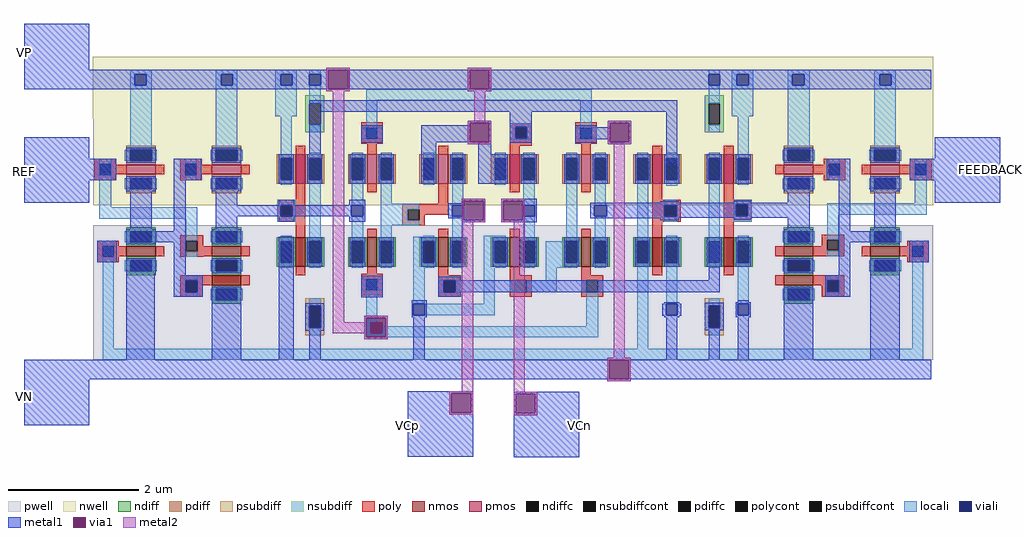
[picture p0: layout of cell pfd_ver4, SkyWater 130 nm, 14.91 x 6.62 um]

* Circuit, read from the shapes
.subckt pfd_ver4 VN VCn REF FEEDBACK VP VCp
XM1 n1 n2 VN VN sky130_fd_pr__nfet_01v8 w=0.45 l=0.15
XM2 n3 n1 VN VN sky130_fd_pr__nfet_01v8 w=0.45 l=0.15
XM3 n4 REF n3 VN sky130_fd_pr__nfet_01v8 w=0.45 l=0.15
XM4 n5 n4 VN VN sky130_fd_pr__nfet_01v8 w=0.45 l=0.15
XM5 n6 VP n4 VN sky130_fd_pr__nfet_01v8 w=0.45 l=0.15
XM6 VCp n7 VN VN sky130_fd_pr__nfet_01v8 w=0.45 l=0.15
XM7 VCn n8 VN VN sky130_fd_pr__nfet_01v8 w=0.45 l=0.15
XM8 n9 VP n8 VN sky130_fd_pr__nfet_01v8 w=0.45 l=0.15
XM9 VN n9 n2 VN sky130_fd_pr__nfet_01v8 w=0.45 l=0.15
XM10 VN n9 n7 VN sky130_fd_pr__nfet_01v8 w=0.45 l=0.15
XM11 n10 n11 VN VN sky130_fd_pr__nfet_01v8 w=0.45 l=0.15
XM12 n9 FEEDBACK n10 VN sky130_fd_pr__nfet_01v8 w=0.45 l=0.15
XM13 n11 n2 VN VN sky130_fd_pr__nfet_01v8 w=0.45 l=0.15
XM14 VP REF n1 VP sky130_fd_pr__pfet_01v8 w=0.45 l=0.15
XM15 VP n1 n4 VP sky130_fd_pr__pfet_01v8 w=0.45 l=0.15
XM16 n5 n4 VP VP sky130_fd_pr__pfet_01v8 w=0.45 l=0.15
XM17 n6 VN n4 VP sky130_fd_pr__pfet_01v8 w=0.45 l=0.15
XM18 VCp n6 VP VP sky130_fd_pr__pfet_01v8 w=0.45 l=0.15
XM19 VCn n5 VP VP sky130_fd_pr__pfet_01v8 w=0.45 l=0.15
XM20 n9 VN n8 VP sky130_fd_pr__pfet_01v8 w=0.45 l=0.15
XM21 n5 n9 n2 VP sky130_fd_pr__pfet_01v8 w=0.45 l=0.15
XM22 VP n9 n7 VP sky130_fd_pr__pfet_01v8 w=0.45 l=0.15
XM23 VP n11 n9 VP sky130_fd_pr__pfet_01v8 w=0.45 l=0.15
XM24 VP FEEDBACK n11 VP sky130_fd_pr__pfet_01v8 w=0.45 l=0.15
.ends

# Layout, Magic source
magic
tech sky130A
magscale 1 2
<< nwell >>
rect 580 238 3148 428
rect 582 -26 3148 238
<< pwell >>
rect 582 -498 3148 -88
rect 2152 -564 2224 -498
rect 2550 -502 2584 -498
<< pmos >>
rect 1636 40 1666 130
<< pdiff >>
rect 1578 40 1636 130
rect 1666 40 1724 130
<< psubdiff >>
rect 1230 -334 1288 -310
rect 1230 -400 1242 -334
rect 1276 -400 1288 -334
rect 1230 -424 1288 -400
rect 2450 -334 2508 -310
rect 2450 -400 2462 -334
rect 2496 -400 2508 -334
rect 2450 -424 2508 -400
<< nsubdiff >>
rect 1230 286 1288 310
rect 1230 220 1242 286
rect 1276 220 1288 286
rect 2450 286 2508 310
rect 1230 196 1288 220
rect 2450 220 2462 286
rect 2496 220 2508 286
rect 2450 196 2508 220
<< psubdiffcont >>
rect 1242 -400 1276 -334
rect 2462 -400 2496 -334
<< nsubdiffcont >>
rect 1242 220 1276 286
rect 2462 220 2496 286
<< poly >>
rect 1854 214 1922 224
rect 1854 178 1872 214
rect 1906 178 1922 214
rect 1854 156 1922 178
rect 602 74 636 114
rect 1200 -10 1230 156
rect 1636 130 1666 156
rect 1144 -26 1230 -10
rect 1636 -22 1666 40
rect 1854 14 1884 156
rect 1144 -60 1154 -26
rect 1190 -60 1230 -26
rect 1144 -76 1230 -60
rect 848 -134 918 -118
rect 848 -168 864 -134
rect 900 -168 918 -134
rect 848 -184 918 -168
rect 1200 -240 1230 -76
rect 1526 -38 1666 -22
rect 1526 -72 1542 -38
rect 1578 -56 1666 -38
rect 2290 -10 2320 156
rect 2508 -10 2538 156
rect 3092 54 3128 100
rect 2290 -26 2376 -10
rect 1578 -72 1594 -56
rect 1526 -88 1594 -72
rect 2290 -60 2326 -26
rect 2364 -60 2376 -26
rect 2290 -76 2376 -60
rect 2508 -26 2594 -10
rect 2508 -60 2544 -26
rect 2580 -60 2594 -26
rect 2508 -76 2594 -60
rect 2290 -240 2320 -76
rect 2508 -240 2538 -76
rect 2808 -132 2876 -116
rect 2808 -152 2824 -132
rect 2786 -166 2824 -152
rect 2860 -166 2876 -132
rect 2786 -182 2876 -166
rect 848 -256 1060 -240
rect 848 -290 864 -256
rect 900 -270 1060 -256
rect 1636 -256 1704 -240
rect 900 -290 916 -270
rect 848 -306 916 -290
rect 1636 -292 1652 -256
rect 1688 -292 1704 -256
rect 1636 -306 1704 -292
rect 1854 -256 1922 -240
rect 1854 -292 1870 -256
rect 1906 -292 1922 -256
rect 1854 -306 1922 -292
rect 2072 -256 2140 -240
rect 2072 -292 2088 -256
rect 2124 -292 2140 -256
rect 2072 -306 2140 -292
rect 2808 -256 2876 -240
rect 2808 -290 2824 -256
rect 2860 -290 2876 -256
rect 2808 -306 2876 -290
<< polycont >>
rect 1872 178 1906 214
rect 1154 -60 1190 -26
rect 864 -168 900 -134
rect 1542 -72 1578 -38
rect 2326 -60 2364 -26
rect 2544 -60 2580 -26
rect 2824 -166 2860 -132
rect 864 -290 900 -256
rect 1652 -292 1688 -256
rect 1870 -292 1906 -256
rect 2088 -292 2124 -256
rect 2824 -290 2860 -256
<< locali >>
rect 694 374 760 388
rect 694 340 708 374
rect 744 340 760 374
rect 600 -32 636 114
rect 694 108 760 340
rect 956 374 1022 388
rect 956 340 972 374
rect 1008 340 1022 374
rect 956 110 1022 340
rect 1138 374 1204 388
rect 1138 340 1154 374
rect 1190 340 1204 374
rect 1138 246 1204 340
rect 1242 374 1276 388
rect 1242 286 1276 340
rect 2462 374 2496 388
rect 1154 36 1188 246
rect 1242 196 1276 220
rect 1416 294 2104 328
rect 1416 178 1450 294
rect 1854 214 1922 224
rect 1854 178 1872 214
rect 1906 178 1922 214
rect 1854 176 1922 178
rect 2070 176 2104 294
rect 2462 286 2496 340
rect 2532 374 2598 388
rect 2532 340 2548 374
rect 2584 340 2598 374
rect 2532 246 2598 340
rect 2704 374 2770 388
rect 2704 340 2718 374
rect 2754 340 2770 374
rect 2462 196 2496 220
rect 1144 -26 1200 -10
rect 600 -68 900 -32
rect 864 -134 900 -68
rect 1144 -60 1154 -26
rect 1190 -60 1200 -26
rect 1144 -76 1200 -60
rect 610 -464 644 -134
rect 864 -184 900 -168
rect 1242 -204 1276 116
rect 1372 -26 1406 134
rect 1372 -218 1406 -60
rect 1460 -22 1494 134
rect 1590 118 1624 134
rect 1460 -38 1578 -22
rect 1460 -72 1542 -38
rect 1460 -88 1578 -72
rect 1678 -26 1712 134
rect 1460 -218 1494 -88
rect 864 -256 900 -240
rect 864 -306 900 -292
rect 1242 -334 1276 -310
rect 1242 -424 1276 -400
rect 1416 -384 1450 -252
rect 1560 -328 1594 -122
rect 1678 -218 1712 -60
rect 1896 -26 1930 134
rect 1774 -218 1842 -120
rect 1896 -218 1930 -60
rect 2026 -136 2060 134
rect 2114 -26 2148 134
rect 1964 -218 2060 -136
rect 2114 -218 2148 -60
rect 1636 -292 1652 -256
rect 1688 -292 1704 -256
rect 1774 -328 1808 -218
rect 1964 -256 1998 -218
rect 1854 -292 1870 -256
rect 1906 -292 1998 -256
rect 2072 -292 2088 -256
rect 2124 -292 2140 -256
rect 1594 -362 1808 -328
rect 1416 -418 1430 -384
rect 2088 -396 2124 -292
rect 1464 -418 2124 -396
rect 1416 -430 2124 -418
rect 2244 -464 2278 134
rect 2332 34 2366 102
rect 2326 -26 2364 -10
rect 2326 -76 2364 -60
rect 2332 -328 2366 -120
rect 2462 -218 2496 134
rect 2550 36 2584 246
rect 2704 110 2770 340
rect 2968 374 3034 388
rect 2968 340 2984 374
rect 3020 340 3034 374
rect 2968 110 3034 340
rect 2538 -24 2594 -10
rect 3092 -20 3128 116
rect 2538 -26 2546 -24
rect 2538 -60 2544 -26
rect 2582 -58 2594 -24
rect 2580 -60 2594 -58
rect 2538 -76 2594 -60
rect 2824 -56 3128 -20
rect 2462 -334 2496 -310
rect 2550 -328 2584 -120
rect 2824 -132 2860 -56
rect 2824 -182 2860 -166
rect 2824 -256 2860 -240
rect 2824 -306 2860 -290
rect 2462 -424 2496 -400
rect 3084 -464 3118 -134
rect 610 -498 3118 -464
<< viali >>
rect 708 340 744 374
rect 972 340 1008 374
rect 1154 340 1190 374
rect 1242 340 1276 374
rect 2462 340 2496 374
rect 1872 178 1906 212
rect 2548 340 2584 374
rect 2718 340 2754 374
rect 1154 -60 1190 -26
rect 1370 -60 1406 -26
rect 1678 -60 1712 -26
rect 864 -290 900 -256
rect 864 -292 900 -290
rect 1242 -400 1276 -334
rect 1896 -60 1930 -26
rect 2112 -60 2150 -26
rect 1652 -292 1688 -256
rect 1560 -362 1594 -328
rect 1430 -418 1464 -384
rect 2326 -60 2364 -26
rect 2984 340 3020 374
rect 2546 -26 2582 -24
rect 2546 -58 2580 -26
rect 2580 -58 2582 -26
rect 2332 -362 2366 -328
rect 2462 -400 2496 -334
rect 2824 -290 2860 -256
rect 2550 -362 2584 -328
<< metal1 >>
rect 370 388 570 528
rect 370 374 1300 388
rect 370 340 708 374
rect 744 340 972 374
rect 1008 340 1154 374
rect 1190 340 1242 374
rect 1276 340 1300 374
rect 370 328 1300 340
rect 1360 328 1732 388
rect 1792 374 3142 388
rect 1792 340 2462 374
rect 2496 340 2548 374
rect 2584 340 2718 374
rect 2754 340 2984 374
rect 3020 340 3142 374
rect 1792 328 3142 340
rect 1242 260 2366 294
rect 370 116 570 182
rect 1242 116 1276 260
rect 1726 226 1798 232
rect 1726 218 1732 226
rect 1400 164 1466 218
rect 1584 166 1732 218
rect 1792 166 1798 226
rect 370 50 652 116
rect 370 -18 570 50
rect 694 -106 760 56
rect 828 50 912 116
rect 828 -106 864 50
rect 594 -200 654 -134
rect 682 -140 864 -106
rect 956 -26 1022 56
rect 1584 40 1630 166
rect 1758 130 1798 166
rect 1854 212 1922 260
rect 2154 226 2226 232
rect 1854 178 1872 212
rect 1906 178 1922 212
rect 1854 164 1922 178
rect 2054 212 2120 218
rect 2154 212 2160 226
rect 2054 176 2160 212
rect 2054 164 2120 176
rect 2154 166 2160 176
rect 2220 166 2226 226
rect 2154 160 2226 166
rect 1758 40 1848 130
rect 2332 102 2366 260
rect 3152 116 3352 182
rect 1148 -26 1196 -10
rect 1364 -26 1412 -10
rect 1708 -12 1780 -6
rect 1708 -20 1714 -12
rect 956 -60 1154 -26
rect 1190 -60 1370 -26
rect 1406 -60 1412 -26
rect 956 -140 1022 -60
rect 1148 -76 1196 -60
rect 1364 -76 1412 -60
rect 1666 -26 1714 -20
rect 1666 -60 1678 -26
rect 1712 -60 1714 -26
rect 1666 -66 1714 -60
rect 1708 -72 1714 -66
rect 1774 -72 1780 -12
rect 1708 -78 1780 -72
rect 1828 -12 1936 -6
rect 1828 -72 1834 -12
rect 1894 -26 1936 -12
rect 2314 -18 2370 -14
rect 2538 -18 2590 -12
rect 2704 -18 2770 56
rect 2824 50 2894 116
rect 1894 -60 1896 -26
rect 1930 -60 1936 -26
rect 1894 -72 1936 -60
rect 2100 -24 2770 -18
rect 2100 -26 2546 -24
rect 2100 -60 2112 -26
rect 2150 -60 2326 -26
rect 2364 -58 2546 -26
rect 2582 -58 2770 -24
rect 2364 -60 2770 -58
rect 2100 -64 2770 -60
rect 2100 -66 2370 -64
rect 2314 -72 2370 -66
rect 2538 -70 2590 -64
rect 1828 -78 1936 -72
rect 682 -498 770 -190
rect 828 -240 864 -140
rect 828 -256 916 -240
rect 828 -292 864 -256
rect 900 -292 916 -256
rect 828 -306 916 -292
rect 944 -498 1034 -276
rect 1148 -498 1194 -122
rect 1400 -308 1466 -242
rect 1636 -256 1704 -244
rect 2462 -256 2496 -124
rect 2704 -140 2770 -64
rect 2860 -106 2894 50
rect 2968 -106 3034 56
rect 3076 50 3352 116
rect 3152 -18 3352 50
rect 2860 -140 3034 -106
rect 2860 -240 2894 -140
rect 1636 -292 1652 -256
rect 1688 -292 2496 -256
rect 2818 -256 2894 -240
rect 1636 -306 1704 -292
rect 1230 -334 1288 -326
rect 1230 -400 1242 -334
rect 1276 -400 1288 -334
rect 1554 -328 1600 -316
rect 2550 -322 2584 -316
rect 2326 -328 2372 -322
rect 1554 -362 1560 -328
rect 1594 -362 1600 -328
rect 1230 -410 1288 -400
rect 1410 -370 1482 -364
rect 1554 -368 1600 -362
rect 2320 -362 2332 -328
rect 2366 -362 2378 -328
rect 2320 -364 2378 -362
rect 2450 -334 2508 -324
rect 2326 -368 2372 -364
rect 1242 -498 1276 -410
rect 1410 -430 1416 -370
rect 1476 -430 1482 -370
rect 1410 -436 1482 -430
rect 1560 -498 1594 -368
rect 2332 -498 2366 -368
rect 2450 -400 2462 -334
rect 2496 -400 2508 -334
rect 2544 -328 2590 -322
rect 2544 -362 2550 -328
rect 2584 -362 2590 -328
rect 2544 -368 2590 -362
rect 2450 -408 2508 -400
rect 2462 -498 2496 -408
rect 2550 -498 2584 -368
rect 2692 -498 2782 -276
rect 2818 -290 2824 -256
rect 2860 -290 2894 -256
rect 2818 -306 2894 -290
rect 2956 -498 3046 -188
rect 3074 -200 3134 -134
rect 370 -558 2158 -498
rect 2218 -558 3142 -498
rect 370 -698 570 -558
rect 1542 -600 1742 -594
rect 1542 -660 1676 -600
rect 1736 -660 1742 -600
rect 1542 -794 1742 -660
rect 1866 -602 2066 -596
rect 1866 -662 1872 -602
rect 1932 -662 2066 -602
rect 1866 -796 2066 -662
<< via1 >>
rect 1300 328 1360 388
rect 1732 328 1792 388
rect 1732 166 1792 226
rect 2160 166 2220 226
rect 1714 -72 1774 -12
rect 1834 -72 1894 -12
rect 1416 -384 1476 -370
rect 1416 -418 1430 -384
rect 1430 -418 1464 -384
rect 1464 -418 1476 -384
rect 1416 -430 1476 -418
rect 2158 -558 2218 -498
rect 1676 -660 1736 -600
rect 1872 -662 1932 -602
<< metal2 >>
rect 1294 388 1366 394
rect 1294 328 1300 388
rect 1360 328 1366 388
rect 1294 322 1366 328
rect 1726 388 1798 394
rect 1726 328 1732 388
rect 1792 328 1798 388
rect 1726 322 1798 328
rect 1314 -384 1348 322
rect 1746 232 1780 322
rect 1726 226 1798 232
rect 1726 166 1732 226
rect 1792 166 1798 226
rect 1726 160 1798 166
rect 2154 226 2226 232
rect 2154 166 2160 226
rect 2220 166 2226 226
rect 2154 160 2226 166
rect 1708 -12 1780 -6
rect 1708 -72 1714 -12
rect 1774 -72 1780 -12
rect 1708 -78 1780 -72
rect 1828 -12 1900 -6
rect 1828 -72 1834 -12
rect 1894 -72 1900 -12
rect 1828 -78 1900 -72
rect 1410 -370 1482 -364
rect 1410 -384 1416 -370
rect 1314 -418 1416 -384
rect 1410 -430 1416 -418
rect 1476 -430 1482 -370
rect 1410 -436 1482 -430
rect 1708 -594 1742 -78
rect 1670 -600 1742 -594
rect 1670 -660 1676 -600
rect 1736 -660 1742 -600
rect 1670 -666 1742 -660
rect 1866 -596 1900 -78
rect 2172 -492 2206 160
rect 2152 -498 2224 -492
rect 2152 -558 2158 -498
rect 2218 -558 2224 -498
rect 2152 -564 2224 -558
rect 1866 -602 1938 -596
rect 1866 -662 1872 -602
rect 1932 -662 1938 -602
rect 1866 -668 1938 -662
use sky130_fd_pr__nfet_01v8_9NP8AN  sky130_fd_pr__nfet_01v8_9NP8AN_0
transform 1 0 2087 0 1 -169
box -73 -71 73 71
use sky130_fd_pr__nfet_01v8_VZM9AN  sky130_fd_pr__nfet_01v8_VZM9AN_0
transform -1 0 1215 0 -1 -169
box -73 -71 73 71
use sky130_fd_pr__pfet_01v8_27PL9K  sky130_fd_pr__pfet_01v8_27PL9K_0
transform -1 0 1215 0 -1 85
box -109 -107 109 107
use sky130_fd_pr__pfet_01v8_27PL9Z  sky130_fd_pr__pfet_01v8_27PL9Z_0
transform 0 1 953 -1 0 83
box -109 -109 109 143
use sky130_fd_pr__pfet_01v8_27PL9Z  sky130_fd_pr__pfet_01v8_27PL9Z_1
transform 0 1 691 -1 0 83
box -109 -109 109 143
use sky130_fd_pr__pfet_01v8_52DJGB  sky130_fd_pr__pfet_01v8_52DJGB_0
transform 1 0 1651 0 1 85
box -109 -107 109 107
use sky130_fd_pr__pfet_01v8_MJZT9K  sky130_fd_pr__pfet_01v8_MJZT9K_0
transform 1 0 2087 0 1 121
box -109 -143 109 109
use sky130_fd_pr__nfet_01v8_9NESAN  XM2
transform 0 1 696 -1 0 -167
box -73 -102 73 102
use sky130_fd_pr__nfet_01v8_9NP8AN  XM5
transform 0 1 989 -1 0 -167
box -73 -71 73 71
use sky130_fd_pr__nfet_01v8_9NP8AN  XM6
transform 0 1 989 -1 0 -255
box -73 -71 73 71
use sky130_fd_pr__pfet_01v8_52DJGB  XM8
transform 1 0 2305 0 1 85
box -109 -107 109 107
use sky130_fd_pr__nfet_01v8_BH4Y4M  XM9
transform 1 0 2305 0 1 -169
box -73 -71 73 71
use sky130_fd_pr__pfet_01v8_52DJGB  XM10
transform 1 0 2523 0 1 85
box -109 -107 109 107
use sky130_fd_pr__nfet_01v8_BH4Y4M  XM11
transform 1 0 2523 0 1 -169
box -73 -71 73 71
use sky130_fd_pr__pfet_01v8_AWEQGB  XM12
transform 0 1 2773 -1 0 83
box -109 -143 109 109
use sky130_fd_pr__nfet_01v8_BH4Y4M  XM13
transform 0 1 2737 -1 0 -167
box -73 -71 73 71
use sky130_fd_pr__pfet_01v8_AWEQGB  XM14
transform 0 1 3037 -1 0 83
box -109 -143 109 109
use sky130_fd_pr__nfet_01v8_ZVHWZ3  XM15
transform 0 1 3032 -1 0 -167
box -73 -102 73 102
use sky130_fd_pr__nfet_01v8_BH4Y4M  XM16
transform 0 1 2737 -1 0 -255
box -73 -71 73 71
use sky130_fd_pr__pfet_01v8_27PL9K  XM17
transform 1 0 1869 0 1 85
box -109 -107 109 107
use sky130_fd_pr__nfet_01v8_9NP8AN  XM18
transform 1 0 1869 0 1 -169
box -73 -71 73 71
use sky130_fd_pr__pfet_01v8_MJZT9K  XM19
transform 1 0 1433 0 1 121
box -109 -143 109 109
use sky130_fd_pr__nfet_01v8_9N7ETN  XM20
transform -1 0 1433 0 -1 -200
box -73 -102 73 102
use sky130_fd_pr__nfet_01v8_BH4Y4M  XM45
transform 1 0 1651 0 1 -169
box -73 -71 73 71
<< labels >>
flabel metal1 s 370 -612 370 -612 7 FreeSans 320 0 0 0 VN
port 0 w
flabel metal1 s 2066 -698 2066 -698 3 FreeSans 320 0 0 0 VCn
port 1 e
flabel metal1 s 370 78 370 78 7 FreeSans 320 0 0 0 REF
port 2 w
flabel metal1 s 3352 82 3352 82 3 FreeSans 320 0 0 0 FEEDBACK
port 3 e
flabel metal1 s 370 440 370 440 7 FreeSans 320 0 0 0 VP
port 4 w
flabel metal1 s 1542 -698 1542 -698 7 FreeSans 320 0 0 0 VCp
port 5 w
<< end >>

# cell sky130_fd_pr__nfet_01v8_9NP8AN: kit device sky130_fd_pr__nfet_01v8, w 0.45 l 0.15 m 1 nf 1 diffcov 100 polycov 100 guard 0 glc 1 grc 1 gtc 1 gbc 1 tbcov 100 rlcov 100 topc 0 botc 0 poverlap 0 doverlap 1 lmin 0.15 wmin 0.42 compatible {sky130_fd_pr__nfet_01v8 sky130_fd_pr__nfet_01v8_lvt sky130_fd_bs_flash__special_sonosfet_star sky130_fd_pr__nfet_g5v0d10v5 sky130_fd_pr__nfet_05v0_nvt sky130_fd_pr__nfet_03v3_nvt} full_metal 1 viasrc 100 viadrn 100 viagate 100 viagb 0 viagr 0 viagl 0 viagt 0

# cell sky130_fd_pr__nfet_01v8_VZM9AN: kit device sky130_fd_pr__nfet_01v8, w 0.45 l 0.15 m 1 nf 1 diffcov 100 polycov 100 guard 0 glc 1 grc 1 gtc 1 gbc 1 tbcov 100 rlcov 100 topc 0 botc 0 poverlap 0 doverlap 0 lmin 0.15 wmin 0.42 compatible {sky130_fd_pr__nfet_01v8 sky130_fd_pr__nfet_01v8_lvt sky130_fd_bs_flash__special_sonosfet_star sky130_fd_pr__nfet_g5v0d10v5 sky130_fd_pr__nfet_05v0_nvt sky130_fd_pr__nfet_03v3_nvt} full_metal 1 viasrc 100 viadrn 100 viagate 100 viagb 0 viagr 0 viagl 0 viagt 0

# cell sky130_fd_pr__pfet_01v8_27PL9K: kit device sky130_fd_pr__pfet_01v8, w 0.45 l 0.15 m 1 nf 1 diffcov 100 polycov 100 guard 0 glc 1 grc 1 gtc 1 gbc 1 tbcov 100 rlcov 100 topc 0 botc 0 poverlap 0 doverlap 1 lmin 0.15 wmin 0.42 compatible {sky130_fd_pr__pfet_01v8 sky130_fd_pr__pfet_01v8_lvt sky130_fd_pr__pfet_01v8_hvt sky130_fd_pr__pfet_g5v0d10v5} full_metal 1 viasrc 100 viadrn 100 viagate 100 viagb 0 viagr 0 viagl 0 viagt 0

# cell sky130_fd_pr__pfet_01v8_27PL9Z: kit device sky130_fd_pr__pfet_01v8, w 0.45 l 0.15 m 1 nf 1 diffcov 100 polycov 100 guard 0 glc 1 grc 1 gtc 1 gbc 1 tbcov 100 rlcov 100 topc 0 botc 1 poverlap 0 doverlap 1 lmin 0.15 wmin 0.42 compatible {sky130_fd_pr__pfet_01v8 sky130_fd_pr__pfet_01v8_lvt sky130_fd_pr__pfet_01v8_hvt sky130_fd_pr__pfet_g5v0d10v5} full_metal 1 viasrc 100 viadrn 100 viagate 100 viagb 0 viagr 0 viagl 0 viagt 0

# cell sky130_fd_pr__pfet_01v8_52DJGB: kit device sky130_fd_pr__pfet_01v8, w 0.45 l 0.15 m 1 nf 1 diffcov 100 polycov 100 guard 0 glc 0 grc 0 gtc 0 gbc 0 tbcov 100 rlcov 100 topc 0 botc 0 poverlap 0 doverlap 0 lmin 0.15 wmin 0.42 compatible {sky130_fd_pr__pfet_01v8 sky130_fd_pr__pfet_01v8_lvt sky130_fd_pr__pfet_01v8_hvt sky130_fd_pr__pfet_g5v0d10v5} full_metal 0 viasrc 100 viadrn 100 viagate 100 viagb 0 viagr 0 viagl 0 viagt 0

# cell sky130_fd_pr__pfet_01v8_MJZT9K: kit device sky130_fd_pr__pfet_01v8, w 0.45 l 0.15 m 1 nf 1 diffcov 100 polycov 100 guard 0 glc 1 grc 1 gtc 1 gbc 1 tbcov 100 rlcov 100 topc 1 botc 0 poverlap 0 doverlap 1 lmin 0.15 wmin 0.42 compatible {sky130_fd_pr__pfet_01v8 sky130_fd_pr__pfet_01v8_lvt sky130_fd_pr__pfet_01v8_hvt sky130_fd_pr__pfet_g5v0d10v5} full_metal 1 viasrc 100 viadrn 100 viagate 100 viagb 0 viagr 0 viagl 0 viagt 0

# cell sky130_fd_pr__nfet_01v8_9NESAN: kit device sky130_fd_pr__nfet_01v8, w 0.45 l 0.15 m 1 nf 1 diffcov 100 polycov 100 guard 0 glc 1 grc 1 gtc 1 gbc 1 tbcov 100 rlcov 100 topc 0 botc 1 poverlap 0 doverlap 1 lmin 0.15 wmin 0.42 compatible {sky130_fd_pr__nfet_01v8 sky130_fd_pr__nfet_01v8_lvt sky130_fd_bs_flash__special_sonosfet_star sky130_fd_pr__nfet_g5v0d10v5 sky130_fd_pr__nfet_05v0_nvt sky130_fd_pr__nfet_03v3_nvt} full_metal 1 viasrc 100 viadrn 100 viagate 100 viagb 0 viagr 0 viagl 0 viagt 0

# cell sky130_fd_pr__nfet_01v8_BH4Y4M: kit device sky130_fd_pr__nfet_01v8, w 0.45 l 0.15 m 1 nf 1 diffcov 100 polycov 100 guard 0 glc 0 grc 0 gtc 0 gbc 0 tbcov 100 rlcov 100 topc 0 botc 0 poverlap 0 doverlap 0 lmin 0.15 wmin 0.42 compatible {sky130_fd_pr__nfet_01v8 sky130_fd_pr__nfet_01v8_lvt sky130_fd_bs_flash__special_sonosfet_star sky130_fd_pr__nfet_g5v0d10v5 sky130_fd_pr__nfet_05v0_nvt sky130_fd_pr__nfet_03v3_nvt} full_metal 0 viasrc 100 viadrn 100 viagate 100 viagb 0 viagr 0 viagl 0 viagt 0

# cell sky130_fd_pr__pfet_01v8_AWEQGB: kit device sky130_fd_pr__pfet_01v8, w 0.45 l 0.15 m 1 nf 1 diffcov 100 polycov 100 guard 0 glc 0 grc 0 gtc 0 gbc 0 tbcov 100 rlcov 100 topc 1 botc 0 poverlap 0 doverlap 0 lmin 0.15 wmin 0.42 compatible {sky130_fd_pr__pfet_01v8 sky130_fd_pr__pfet_01v8_lvt sky130_fd_pr__pfet_01v8_hvt sky130_fd_pr__pfet_g5v0d10v5} full_metal 0 viasrc 100 viadrn 100 viagate 100 viagb 0 viagr 0 viagl 0 viagt 0

# cell sky130_fd_pr__nfet_01v8_ZVHWZ3: kit device sky130_fd_pr__nfet_01v8, w 0.45 l 0.15 m 1 nf 1 diffcov 100 polycov 100 guard 0 glc 0 grc 0 gtc 0 gbc 0 tbcov 100 rlcov 100 topc 1 botc 0 poverlap 0 doverlap 0 lmin 0.15 wmin 0.42 compatible {sky130_fd_pr__nfet_01v8 sky130_fd_pr__nfet_01v8_lvt sky130_fd_bs_flash__special_sonosfet_star sky130_fd_pr__nfet_g5v0d10v5 sky130_fd_pr__nfet_05v0_nvt sky130_fd_pr__nfet_03v3_nvt} full_metal 0 viasrc 100 viadrn 100 viagate 100 viagb 0 viagr 0 viagl 0 viagt 0

# cell sky130_fd_pr__nfet_01v8_9N7ETN: kit device sky130_fd_pr__nfet_01v8, w 0.45 l 0.15 m 1 nf 1 diffcov 100 polycov 100 guard 0 glc 1 grc 1 gtc 1 gbc 1 tbcov 100 rlcov 100 topc 1 botc 0 poverlap 0 doverlap 1 lmin 0.15 wmin 0.42 compatible {sky130_fd_pr__nfet_01v8 sky130_fd_pr__nfet_01v8_lvt sky130_fd_bs_flash__special_sonosfet_star sky130_fd_pr__nfet_g5v0d10v5 sky130_fd_pr__nfet_05v0_nvt sky130_fd_pr__nfet_03v3_nvt} full_metal 1 viasrc 100 viadrn 100 viagate 100 viagb 0 viagr 0 viagl 0 viagt 0
